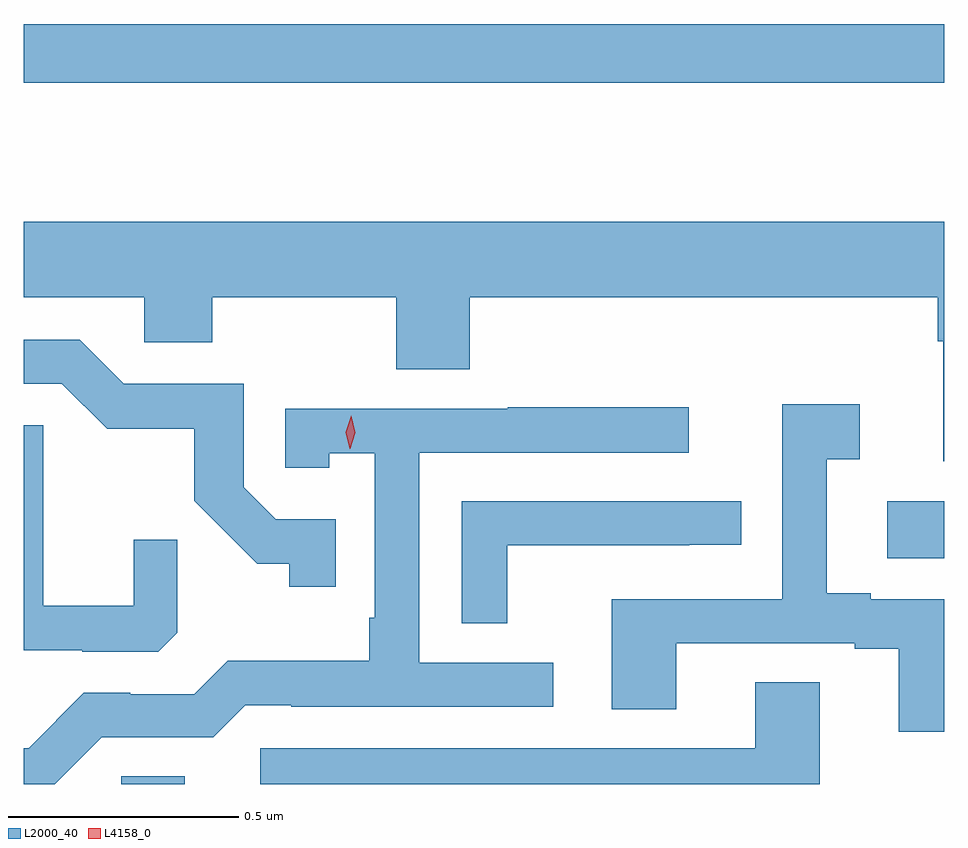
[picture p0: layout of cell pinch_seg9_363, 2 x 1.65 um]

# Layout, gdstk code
import gdstk
lib = gdstk.Library(unit=1e-6, precision=1e-09)
def R(c, l, rs):  # rectangles x0, y0, x1, y1
    for r in rs: c.add(gdstk.rectangle(r[:2], r[2:], *l))
def P(c, l, *ps):  # polygons
    for p in ps: c.add(gdstk.Polygon(p, *l))
L2000_40 = (2000, 40)
L4158_0 = (4158, 0)

pinch_seg9_363 = lib.new_cell('pinch_seg9_363')
R(pinch_seg9_363, L2000_40, [(553.788,1199.358,553.927,1199.375), (555.453,1199.849,555.577,1199.973), (553.577,1200.882,555.577,1201.01)])
P(pinch_seg9_363, L2000_40, [(555.577,1200.58),(553.577,1200.58),(553.577,1200.416),(553.839,1200.416),(553.839,1200.318),(553.986,1200.318),(553.986,1200.416),(554.386,1200.416),(554.386,1200.259),(554.546,1200.259),(554.546,1200.416),(555.563,1200.416),(555.563,1200.32),(555.575,1200.32),(555.575,1200.06),(555.577,1200.06)],
  [(554.255,1199.934),(554.124,1199.934),(554.055,1200.003),(554.055,1200.228),(553.794,1200.228),(553.698,1200.324),(553.577,1200.324),(553.577,1200.228),(553.659,1200.228),(553.758,1200.13),(553.947,1200.13),(553.947,1199.974),(554.084,1199.837),(554.154,1199.837),(554.154,1199.787),(554.255,1199.787)],
  [(555.577,1199.76),(555.418,1199.76),(555.418,1199.773),(555.322,1199.773),(555.322,1200.064),(555.394,1200.064),(555.394,1200.184),(555.225,1200.184),(555.225,1199.76),(554.855,1199.76),(554.855,1199.521),(554.995,1199.521),(554.995,1199.664),(555.383,1199.664),(555.383,1199.652),(555.479,1199.652),(555.479,1199.472),(555.577,1199.472)],
  [(553.746,1199.46),(553.989,1199.46),(554.058,1199.529),(554.158,1199.529),(554.158,1199.526),(554.728,1199.526),(554.728,1199.622),(554.436,1199.622),(554.436,1200.078),(555.022,1200.078),(555.022,1200.177),(554.629,1200.177),(554.629,1200.174),(554.145,1200.174),(554.145,1200.045),(554.241,1200.045),(554.241,1200.077),(554.34,1200.077),(554.34,1199.719),(554.328,1199.719),(554.328,1199.626),(554.02,1199.626),(553.947,1199.553),(553.808,1199.553),(553.808,1199.556),(553.707,1199.556),(553.587,1199.436),(553.577,1199.436),(553.577,1199.358),(553.644,1199.358)],
  [(553.91,1199.687),(553.91,1199.889),(553.816,1199.889),(553.816,1199.746),(553.619,1199.746),(553.619,1200.138),(553.577,1200.138),(553.577,1199.649),(553.704,1199.649),(553.704,1199.646),(553.869,1199.646)],
  [(554.628,1199.877),(555.023,1199.877),(555.023,1199.878),(555.136,1199.878),(555.136,1199.973),(554.529,1199.973),(554.529,1199.707),(554.628,1199.707)],
  [(555.307,1199.579),(555.167,1199.579),(555.167,1199.436),(554.091,1199.436),(554.091,1199.358),(555.307,1199.358)])
P(pinch_seg9_363, L4158_0, [(554.285,1200.087),(554.277,1200.123),(554.288,1200.158),(554.288,1200.159),(554.288,1200.158),(554.297,1200.122),(554.286,1200.087),(554.286,1200.087)])

lib.write_gds('pinch_seg9_363.gds')
